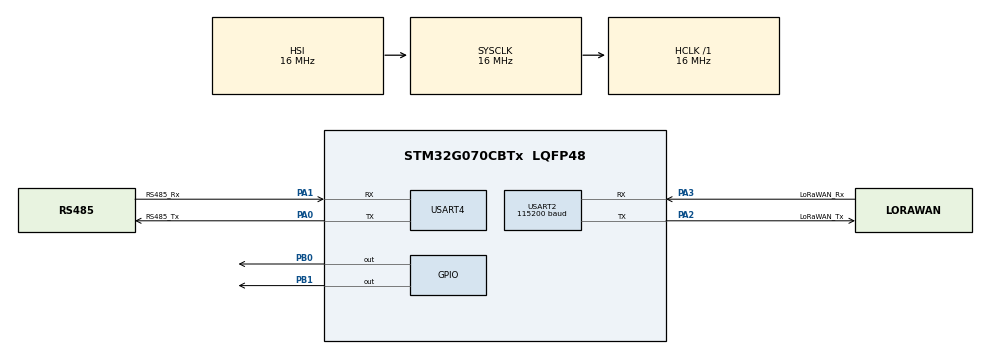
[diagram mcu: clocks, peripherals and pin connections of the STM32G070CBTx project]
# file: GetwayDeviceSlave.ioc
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Mcu.Family=STM32G0
Mcu.Name=STM32G070CBTx
Mcu.Package=LQFP48
NVIC.FLASH_IRQn=true\:0\:0\:false\:false\:true\:true\:true\:true
NVIC.RCC_IRQn=true\:0\:0\:false\:false\:true\:true\:false\:true
NVIC.USART2_IRQn=true\:1\:0\:true\:false\:true\:true\:true\:true
NVIC.USART3_4_IRQn=true\:0\:0\:false\:false\:true\:true\:true\:true
PA0.GPIO_Label=RS485_Tx
PA0.GPIO_PuPd=GPIO_PULLUP
PA0.GPIO_Speed=GPIO_SPEED_FREQ_VERY_HIGH
PA0.Mode=Asynchronous
PA0.PinState=GPIO_PIN_RESET
PA0.Signal=USART4_TX
PA1.GPIO_Label=RS485_Rx
PA1.GPIO_PuPd=GPIO_PULLDOWN
PA1.GPIO_Speed=GPIO_SPEED_FREQ_VERY_HIGH
PA1.Mode=Asynchronous
PA1.PinState=GPIO_PIN_RESET
PA1.Signal=USART4_RX
PA13.Mode=Serial_Wire
PA13.Signal=SYS_SWDIO
PA14-BOOT0.Mode=Serial_Wire
PA14-BOOT0.Signal=SYS_SWCLK
PA2.GPIO_Label=LoRaWAN_Tx
PA2.GPIO_PuPd=GPIO_PULLDOWN
PA2.GPIO_Speed=GPIO_SPEED_FREQ_VERY_HIGH
PA2.Mode=Asynchronous
PA2.PinState=GPIO_PIN_RESET
PA2.Signal=USART2_TX
PA3.GPIO_Label=LoRaWAN_Rx
PA3.GPIO_PuPd=GPIO_PULLDOWN
PA3.GPIO_Speed=GPIO_SPEED_FREQ_VERY_HIGH
PA3.Mode=Asynchronous
PA3.Signal=USART2_RX
PB0.Signal=GPIO_Output
PB1.Signal=GPIO_Output
ProjectManager.HeapSize=0x200
ProjectManager.StackSize=0x400
ProjectManager.TargetToolchain=STM32CubeIDE
RCC.AHBFreq_Value=16000000
RCC.CortexFreq_Value=16000000
RCC.EXTERNAL_CLOCK_VALUE=48000
RCC.HCLKFreq_Value=16000000
RCC.HSE_VALUE=8000000
RCC.HSI_VALUE=16000000
RCC.LSE_VALUE=32768
RCC.SYSCLKFreq_VALUE=16000000
RCC.VCOOutputFreq_Value=128000000
TIM3.AutoReloadPreload=TIM_AUTORELOAD_PRELOAD_ENABLE
TIM3.Prescaler=16000
USART2.BaudRate=115200
USART2.VirtualMode-Asynchronous=VM_ASYNC
USART4.VirtualMode-Asynchronous=VM_ASYNC
VP_SYS_VS_DBSignals.Mode=DisableDeadBatterySignals
VP_TIM3_VS_ClockSourceINT.Mode=Internal
board=custom

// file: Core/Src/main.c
/* USER CODE BEGIN Header */
/**
  ******************************************************************************
  * @file           : main.c
  * @brief          : Main program body
  ******************************************************************************
  * @attention
  *
  * Copyright (c) 2022 STMicroelectronics.
  * All rights reserved.
  *
  * This software is licensed under terms that can be found in the LICENSE file
  * in the root directory of this software component.
  * If no LICENSE file comes with this software, it is provided AS-IS.
  *
  ******************************************************************************
  */
/* USER CODE END Header */
#include "main.h"

/* USER CODE BEGIN Includes */
#include <stdio.h>
#include <string.h>
/* USER CODE END Includes */

TIM_HandleTypeDef htim3;

UART_HandleTypeDef huart2;
UART_HandleTypeDef huart4;

/* USER CODE BEGIN PV */
uint8_t lorawanData[uartBytes];
uint8_t lorawanDataChar = 0;
uint16_t lorawanDataCount = 0;

uint8_t modbusData[uartBytes];
uint8_t modbusDataChar = 0;
uint16_t modbusDataCount = 0;

uint8_t requestModbus1[7] = {0x01, 0x04, 0x00, 0x00, 0x01, 0xD9, 0x30};
uint8_t requestModbus2[8] = {0x02, 0x04, 0x00, 0x01, 0x00, 0x04, 0xA0, 0x3A};

uint8_t dataFull[50];
uint8_t isLampTower = 0;
uint8_t isSensorCounter = 0;
uint8_t lampStatu1_H = 0, lampStatu1_L = 0;
uint8_t lampStatu2_H = 0, lampStatu2_L = 0;
uint8_t lampStatu3_H = 0, lampStatu3_L = 0;
uint8_t sensorCounter1_H = 0, sensorCounter1_L = 0;
uint8_t sensorCounter2_H = 0, sensorCounter2_L = 0;
uint8_t sensorCounter3_H = 0, sensorCounter3_L = 0;

uint8_t debug = 0;

/* USER CODE END PV */

void SystemClock_Config(void);
static void MX_GPIO_Init(void);
static void MX_USART2_UART_Init(void);
static void MX_USART4_UART_Init(void);
static void MX_TIM3_Init(void);
/* USER CODE BEGIN PFP */
void clearData(uint8_t *ptrBuffer, uint16_t sizeBuffer);
void lorawanTransHandle(void);
/* USER CODE END PFP */

/* USER CODE BEGIN 0 */
void HAL_UART_RxCpltCallback(UART_HandleTypeDef *huart)
{
  UNUSED(huart);

  if(huart->Instance == USART2)
  {
    HAL_UART_Receive_IT(&huart2, &lorawanDataChar, 1);
    lorawanData[lorawanDataCount] = lorawanDataChar;
    lorawanDataCount++;
    if(lorawanData[0] == 0xAA) lorawanTransHandle();
    clearData(lorawanData, uartBytes);
  }

  if(huart->Instance == USART4)
  {
    HAL_UART_Receive_IT(&huart4, &modbusDataChar, 1);
    modbusData[modbusDataCount] = modbusDataChar;
    modbusDataCount++;
  }
}
/* USER CODE END 0 */

int main(void)
{

  /* MCU Configuration--------------------------------------------------------*/

  /* Reset of all peripherals, Initializes the Flash interface and the Systick. */
  HAL_Init();

  /* Configure the system clock */
  SystemClock_Config();

  /* Initialize all configured peripherals */
  MX_GPIO_Init();
  MX_USART2_UART_Init();
  MX_USART4_UART_Init();
  MX_TIM3_Init();
  /* USER CODE BEGIN 2 */
  HAL_TIM_Base_Start(&htim3);
  HAL_UART_Receive_IT(&huart2, &lorawanDataChar, 1);
  HAL_UART_Receive_IT(&huart4, &modbusDataChar, 1);

  /* USER CODE END 2 */

  /* Infinite loop */
  /* USER CODE BEGIN WHILE */
  while (1)
  {
    HAL_UART_Transmit(&huart4, requestModbus1, sizeof(requestModbus1), 1000);
    HAL_Delay(500);

    if(strlen((char*)modbusData) != 0)
    {
      isLampTower = 1;
      lampStatu1_H = modbusData[3];
      lampStatu1_L = modbusData[4];
      lampStatu2_H = modbusData[5];
      lampStatu2_L = modbusData[6];
      lampStatu3_H = modbusData[7];
      lampStatu3_L = modbusData[8];
    }
    else isLampTower = 0;
    clearData(modbusData, uartBytes);

    HAL_UART_Transmit(&huart4, requestModbus2, sizeof(requestModbus2), 1000);
    HAL_Delay(500);

    if(strlen((char*)modbusData) != 0)
    {
      isSensorCounter = 1;
      sensorCounter1_H = modbusData[3];
      sensorCounter1_L = modbusData[4];
      sensorCounter2_H = modbusData[5];
      sensorCounter2_L = modbusData[6];
      sensorCounter3_H = modbusData[7];
      sensorCounter3_L = modbusData[8];
    }
    else isSensorCounter = 0;
    clearData(modbusData, uartBytes);

    /* USER CODE END WHILE */

  }
}

void SystemClock_Config(void)
{
  RCC_OscInitTypeDef RCC_OscInitStruct = {0};
  RCC_ClkInitTypeDef RCC_ClkInitStruct = {0};

  /** Configure the main internal regulator output voltage
  */
  HAL_PWREx_ControlVoltageScaling(PWR_REGULATOR_VOLTAGE_SCALE1);

  /** Initializes the RCC Oscillators according to the specified parameters
  * in the RCC_OscInitTypeDef structure.
  */
  RCC_OscInitStruct.OscillatorType = RCC_OSCILLATORTYPE_HSI;
  RCC_OscInitStruct.HSIState = RCC_HSI_ON;
  RCC_OscInitStruct.HSIDiv = RCC_HSI_DIV1;
  RCC_OscInitStruct.HSICalibrationValue = RCC_HSICALIBRATION_DEFAULT;
  RCC_OscInitStruct.PLL.PLLState = RCC_PLL_NONE;
  if (HAL_RCC_OscConfig(&RCC_OscInitStruct) != HAL_OK)
  {
    Error_Handler();
  }

  /** Initializes the CPU, AHB and APB buses clocks
  */
  RCC_ClkInitStruct.ClockType = RCC_CLOCKTYPE_HCLK|RCC_CLOCKTYPE_SYSCLK
                              |RCC_CLOCKTYPE_PCLK1;
  RCC_ClkInitStruct.SYSCLKSource = RCC_SYSCLKSOURCE_HSI;
  RCC_ClkInitStruct.AHBCLKDivider = RCC_SYSCLK_DIV1;
  RCC_ClkInitStruct.APB1CLKDivider = RCC_HCLK_DIV1;

  if (HAL_RCC_ClockConfig(&RCC_ClkInitStruct, FLASH_LATENCY_0) != HAL_OK)
  {
    Error_Handler();
  }
}

static void MX_TIM3_Init(void)
{

  TIM_ClockConfigTypeDef sClockSourceConfig = {0};
  TIM_MasterConfigTypeDef sMasterConfig = {0};

  htim3.Instance = TIM3;
  htim3.Init.Prescaler = 16000;
  htim3.Init.CounterMode = TIM_COUNTERMODE_UP;
  htim3.Init.Period = 65535;
  htim3.Init.ClockDivision = TIM_CLOCKDIVISION_DIV1;
  htim3.Init.AutoReloadPreload = TIM_AUTORELOAD_PRELOAD_ENABLE;
  if (HAL_TIM_Base_Init(&htim3) != HAL_OK)
  {
    Error_Handler();
  }
  sClockSourceConfig.ClockSource = TIM_CLOCKSOURCE_INTERNAL;
  if (HAL_TIM_ConfigClockSource(&htim3, &sClockSourceConfig) != HAL_OK)
  {
    Error_Handler();
  }
  sMasterConfig.MasterOutputTrigger = TIM_TRGO_RESET;
  sMasterConfig.MasterSlaveMode = TIM_MASTERSLAVEMODE_DISABLE;
  if (HAL_TIMEx_MasterConfigSynchronization(&htim3, &sMasterConfig) != HAL_OK)
  {
    Error_Handler();
  }

}

static void MX_USART2_UART_Init(void)
{

  huart2.Instance = USART2;
  huart2.Init.BaudRate = 115200;
  huart2.Init.WordLength = UART_WORDLENGTH_8B;
  huart2.Init.StopBits = UART_STOPBITS_1;
  huart2.Init.Parity = UART_PARITY_NONE;
  huart2.Init.Mode = UART_MODE_TX_RX;
  huart2.Init.HwFlowCtl = UART_HWCONTROL_NONE;
  huart2.Init.OverSampling = UART_OVERSAMPLING_16;
  huart2.Init.OneBitSampling = UART_ONE_BIT_SAMPLE_DISABLE;
  huart2.Init.ClockPrescaler = UART_PRESCALER_DIV1;
  huart2.AdvancedInit.AdvFeatureInit = UART_ADVFEATURE_NO_INIT;
  if (HAL_UART_Init(&huart2) != HAL_OK)
  {
    Error_Handler();
  }
  if (HAL_UARTEx_SetTxFifoThreshold(&huart2, UART_TXFIFO_THRESHOLD_1_8) != HAL_OK)
  {
    Error_Handler();
  }
  if (HAL_UARTEx_SetRxFifoThreshold(&huart2, UART_RXFIFO_THRESHOLD_1_8) != HAL_OK)
  {
    Error_Handler();
  }
  if (HAL_UARTEx_DisableFifoMode(&huart2) != HAL_OK)
  {
    Error_Handler();
  }

}

static void MX_USART4_UART_Init(void)
{

  huart4.Instance = USART4;
  huart4.Init.BaudRate = 115200;
  huart4.Init.WordLength = UART_WORDLENGTH_8B;
  huart4.Init.StopBits = UART_STOPBITS_1;
  huart4.Init.Parity = UART_PARITY_NONE;
  huart4.Init.Mode = UART_MODE_TX_RX;
  huart4.Init.HwFlowCtl = UART_HWCONTROL_NONE;
  huart4.Init.OverSampling = UART_OVERSAMPLING_16;
  huart4.Init.OneBitSampling = UART_ONE_BIT_SAMPLE_DISABLE;
  huart4.Init.ClockPrescaler = UART_PRESCALER_DIV1;
  huart4.AdvancedInit.AdvFeatureInit = UART_ADVFEATURE_NO_INIT;
  if (HAL_UART_Init(&huart4) != HAL_OK)
  {
    Error_Handler();
  }

}

static void MX_GPIO_Init(void)
{

  /* GPIO Ports Clock Enable */
  __HAL_RCC_GPIOA_CLK_ENABLE();

}

/* USER CODE BEGIN 4 */
void clearData(uint8_t *ptrBuffer, uint16_t sizeBuffer)
{
  if(ptrBuffer == &modbusData[0]) modbusDataCount = 0;
  else if(ptrBuffer == &lorawanData[0]) lorawanDataCount = 0;

	for(uint16_t i = 0; i < sizeBuffer; i++) ptrBuffer[i] = '\0';
}

void lorawanTransHandle(void)
{
  dataFull[0] = 0x01;
  dataFull[1] = 0x01;
  dataFull[2] = 0x01;
  dataFull[3] = 0x04;
  dataFull[4] = 0x04;
  dataFull[5] = isLampTower;
  dataFull[6] = lampStatu1_H;
  dataFull[7] = lampStatu1_L;
  dataFull[8] = lampStatu2_H;
  dataFull[9] = lampStatu2_L;
  dataFull[10] = lampStatu3_H;
  dataFull[11] = lampStatu3_L;
  dataFull[12] = isSensorCounter;
  dataFull[13] = sensorCounter1_H;
  dataFull[14] = sensorCounter1_L;
  dataFull[15] = sensorCounter2_H;
  dataFull[16] = sensorCounter2_L;
  dataFull[17] = sensorCounter3_H;
  dataFull[18] = sensorCounter3_L;

  uint8_t sum = 0;
  for(uint8_t i = 5; i < 19; i++) sum += dataFull[i];
  dataFull[19] = sum;

  HAL_UART_Transmit(&huart2, dataFull, 20, 1000);
  clearData(dataFull, 50);
}
/* USER CODE END 4 */

void Error_Handler(void)
{
  __disable_irq();
  while (1)
  {
  }
}
